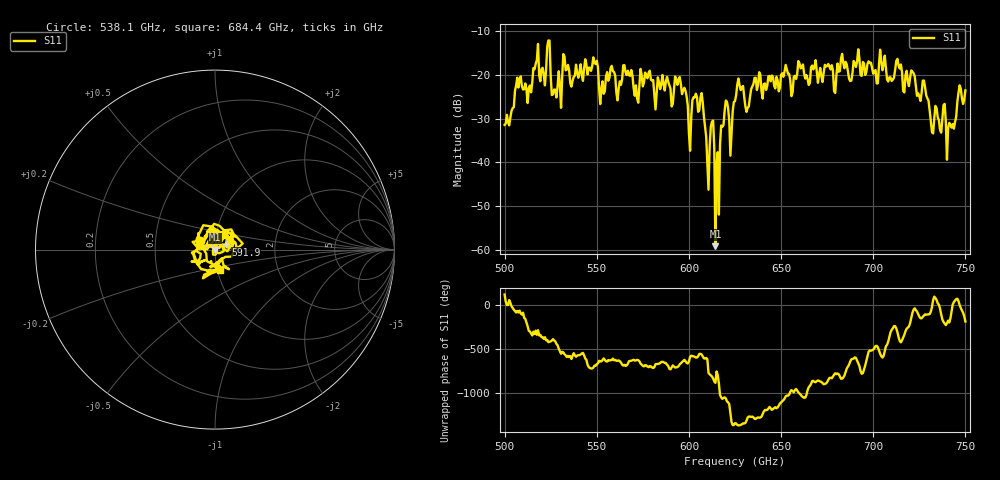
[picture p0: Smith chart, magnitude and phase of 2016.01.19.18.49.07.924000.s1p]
!Created with skrf (http://scikit-rf.org).
# GHz S RI R 50.0
!freq ReS11 ImS11
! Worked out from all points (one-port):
!   401 points, 500 GHz to 750 GHz, reference 50 ohm
!   lowest |S11| = -59.1 dB at 614.4 GHz (marker M1), VSWR 1.00, Z = 49.9 - j0.0366 ohm
!   |S11| at or under -10 dB: start of sweep to end of sweep
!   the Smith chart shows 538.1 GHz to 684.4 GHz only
!   S11 on the Smith chart (normalised r, x): 538.1 GHz: 0.84, +0.08; 591.9 GHz: 1.13, +0.07; 684.4 GHz: 1.02, -0.24
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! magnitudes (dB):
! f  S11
! 500 GHz  -31.4
! 507.5 GHz  -22.9
! 513.8 GHz  -22.4
! 516.9 GHz  -17.5
! 520.6 GHz  -18.4
! 523.8 GHz  -12.2
! 526.9 GHz  -23.4
! 531.2 GHz  -20.3
! 538.1 GHz  -20.2
! 549.4 GHz  -17.6
! 562.5 GHz  -21.5
! 591.9 GHz  -23.5
! 593.8 GHz  -22.3
! 600 GHz  -33.3
! 606.9 GHz  -24.2
! 610 GHz  -40.3
! 612.5 GHz  -30.7
! 614.4 GHz  -59.1
! 615.6 GHz  -37.7
! 618.8 GHz  -31.5
! 623.1 GHz  -33.4
! 625 GHz  -26.0
! 656.2 GHz  -24.0
! 684.4 GHz  -18.5
! 687.5 GHz  -21.4
! 718.8 GHz  -21.5
! 741.2 GHz  -31.0
! 750 GHz  -23.6
